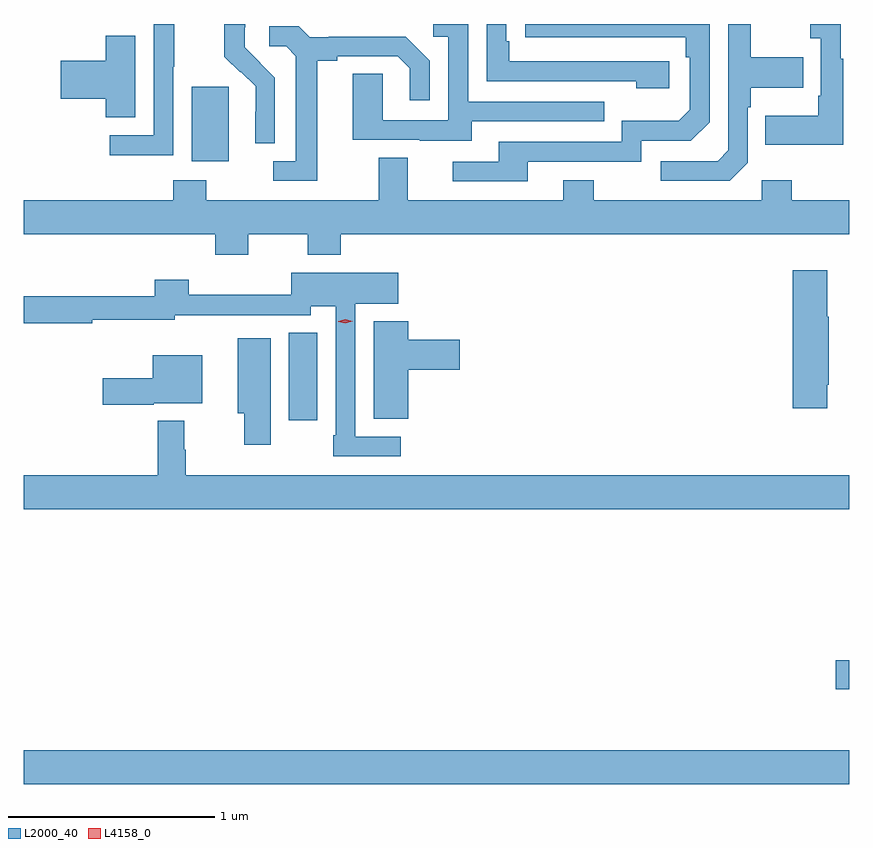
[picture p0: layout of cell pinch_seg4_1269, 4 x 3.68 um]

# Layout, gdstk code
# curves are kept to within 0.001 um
import gdstk
lib = gdstk.Library(unit=1e-6, precision=1e-09)
def R(c, l, rs):  # rectangles x0, y0, x1, y1
    for r in rs: c.add(gdstk.rectangle(r[:2], r[2:], *l))
def P(c, l, *ps):  # polygons
    for p in ps: c.add(gdstk.Polygon(p, *l))
L2000_40 = (2000, 40)
L4158_0 = (4158, 0)

pinch_seg4_1269 = lib.new_cell('pinch_seg4_1269')
R(pinch_seg4_1269, L2000_40, [(276.841,771.512,280.841,771.676), (280.776,771.97,280.841,772.112), (278.126,773.274,278.263,773.699), (277.655,774.53,277.834,774.891)])
P(pinch_seg4_1269, L2000_40, [(279.013,774.723),(279.653,774.723),(279.653,774.819),(278.994,774.819),(278.994,775.195),(278.826,775.195),(278.826,775.134),(278.898,775.134),(278.898,774.729),(278.58,774.729),(278.58,774.953),(278.435,774.953),(278.435,774.633),(278.759,774.633),(278.759,774.629),(279.013,774.629)],
  [(279.283,774.528),(279.834,774.528),(279.834,774.63),(280.074,774.63),(280.164,774.72),(280.164,775.195),(279.271,775.195),(279.271,775.132),(280.048,775.131),(280.048,775.034),(280.068,775.034),(280.068,774.78),(280.015,774.727),(279.738,774.727),(279.738,774.624),(279.143,774.624),(279.143,774.528),(278.919,774.528),(278.919,774.432),(279.283,774.432)],
  [(279.97,775.014),(279.193,775.014),(279.193,775.111),(279.18,775.111),(279.18,775.195),(279.084,775.195),(279.084,774.918),(279.809,774.918),(279.809,774.884),(279.97,774.884)],
  [(280.35,774.522),(280.35,774.791),(280.363,774.791),(280.363,774.887),(280.619,774.887),(280.619,775.035),(280.363,775.035),(280.363,775.195),(280.254,775.195),(280.254,774.582),(280.203,774.531),(279.927,774.531),(279.927,774.435),(280.263,774.435)],
  [(280.813,775.027),(280.801,775.027),(280.801,775.195),(280.653,775.195),(280.653,775.127),(280.704,775.127),(280.704,774.847),(280.692,774.847),(280.692,774.751),(280.435,774.751),(280.435,774.611),(280.813,774.611)],
  [(277.566,774.988),(277.569,774.988),(277.569,775.195),(277.47,775.195),(277.47,774.657),(277.257,774.657),(277.257,774.559),(277.566,774.559)],
  [(278.058,774.934),(277.912,775.082),(277.912,775.179),(277.914,775.179),(277.914,775.195),(277.813,775.195),(277.813,775.037),(277.89,774.96),(277.893,774.963),(277.964,774.893),(277.964,774.77),(277.962,774.77),(277.962,774.616),(278.058,774.616)],
  [(278.263,775.016),(278.359,775.016),(278.359,775.038),(278.654,775.038),(278.711,774.981),(278.711,774.825),(278.808,774.825),(278.808,775.018),(278.692,775.134),(278.32,775.134),(278.32,775.131),(278.226,775.131),(278.174,775.183),(278.031,775.183),(278.031,775.086),(278.112,775.086),(278.159,775.039),(278.159,774.531),(278.049,774.531),(278.049,774.435),(278.263,774.435)],
  [(277.381,775.139),(277.238,775.139),(277.238,775.016),(277.02,775.016),(277.02,774.833),(277.238,774.833),(277.238,774.742),(277.381,774.742)],
  [(277.929,774.176),(278.218,774.176),(278.218,774.077),(278.378,774.077),(278.378,774.176),(280.841,774.176),(280.841,774.34),(280.563,774.34),(280.563,774.439),(280.416,774.439),(280.416,774.34),(279.603,774.34),(279.603,774.439),(279.455,774.439),(279.455,774.34),(278.701,774.34),(278.701,774.548),(278.561,774.548),(278.561,774.34),(277.725,774.34),(277.725,774.439),(277.565,774.439),(277.565,774.34),(276.841,774.34),(276.841,774.176),(277.769,774.176),(277.769,774.077),(277.929,774.077)],
  [(280.735,773.446),(280.743,773.446),(280.743,773.777),(280.735,773.777),(280.735,774.001),(280.568,774.001),(280.568,773.334),(280.735,773.334)],
  [(278.668,773.196),(278.448,773.196),(278.448,773.84),(278.656,773.84),(278.656,773.989),(278.136,773.989),(278.136,773.882),(277.64,773.882),(277.64,773.956),(277.475,773.956),(277.475,773.875),(276.841,773.875),(276.841,773.746),(277.172,773.746),(277.172,773.761),(277.572,773.761),(277.572,773.783),(277.781,773.783),(277.781,773.784),(278.232,773.784),(278.232,773.828),(278.352,773.828),(278.352,773.203),(278.34,773.203),(278.34,773.1),(278.668,773.1)],
  [(278.704,773.519),(278.953,773.519),(278.953,773.666),(278.704,773.666),(278.704,773.755),(278.537,773.755),(278.537,773.281),(278.704,773.281)],
  [(278.038,773.671),(277.877,773.671),(277.877,773.309),(277.909,773.309),(277.909,773.157),(278.038,773.157)],
  [(277.47,773.357),(277.705,773.357),(277.705,773.59),(277.466,773.59),(277.466,773.479),(277.224,773.479),(277.224,773.35),(277.47,773.35)],
  [(280.841,773.008),(277.625,773.008),(277.625,773.132),(277.618,773.132),(277.618,773.272),(277.49,773.272),(277.49,773.008),(276.841,773.008),(276.841,772.844),(280.841,772.844)])
P(pinch_seg4_1269, L4158_0, [(278.399,773.744),(278.365,773.753),(278.365,773.753),(278.365,773.754),(278.399,773.764),(278.434,773.755),(278.434,773.755),(278.434,773.754)])

lib.write_gds('pinch_seg4_1269.gds')
